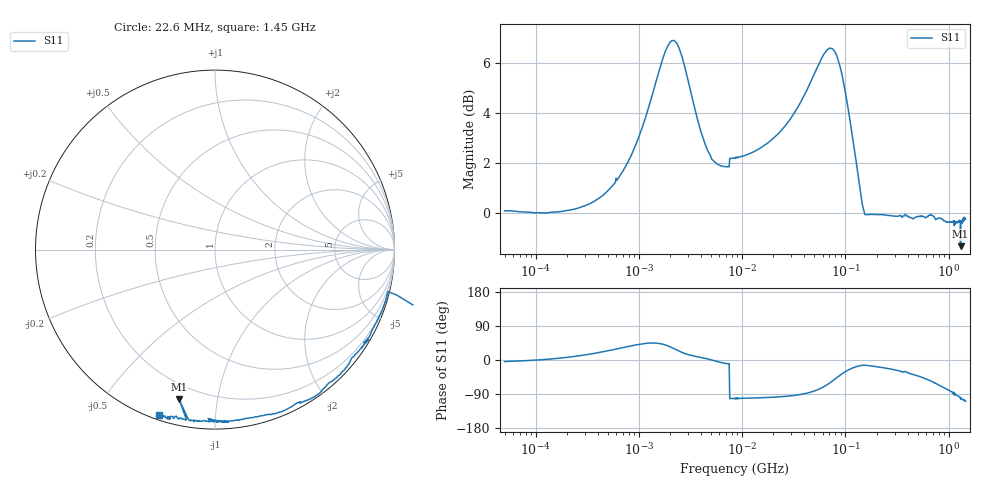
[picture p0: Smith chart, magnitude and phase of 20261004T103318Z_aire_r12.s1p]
! piloto_corto / aire / r12
# HZ S RI R 50
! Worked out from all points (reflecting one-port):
!   501 points, 50 kHz to 1.45 GHz, reference 50 ohm
!   lowest |S11| = -1.3 dB at 1.302 GHz (marker M1), VSWR 13.01, Z = 6.21 - j39 ohm
!   phase of S11 starts at -4 deg and turns -105 deg over the sweep
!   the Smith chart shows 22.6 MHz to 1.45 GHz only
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50000  1.006 -0.0723
183000  1.002 0.1003
363500  1.005 0.3086
658000  1.016 0.6134
1180000  1.128 1.09
1630000  1.448 1.342
1990000  1.791 1.259
2440000  1.959 0.8557
3430000  1.605 0.293
4870000  1.305 0.03
7300000  1.217 -0.2102
7750000  -0.2606 -1.257
8560000  -0.2332 -1.269
1.81e7  -0.2136 -1.368
3.16e7  -0.0989 -1.574
4.78e7  0.2099 -1.845
6.58e7  0.8596 -1.93
7.48e7  1.209 -1.749
8.83e7  1.495 -1.275
9.82e7  1.505 -0.9352
1e8  1.495 -0.8827
1.18e8  1.31 -0.4954
1.36e8  1.102 -0.3083
1.63e8  0.9596 -0.2468
4.06e8  0.8217 -0.542
6.94e8  0.5346 -0.8296
1.3015e9  -0.2003 -0.8335
1.45e9  -0.3116 -0.9205
